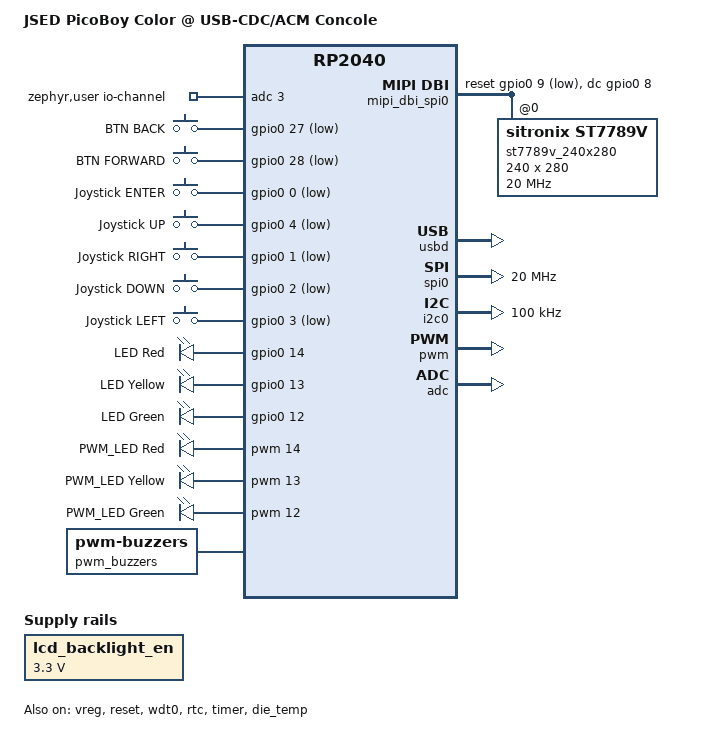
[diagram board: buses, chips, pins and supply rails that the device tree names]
/*
 * SPDX-FileCopyrightText: Copyright (c) 2023-2026 TiaC Systems
 * SPDX-License-Identifier: Apache-2.0
 */

/dts-v1/;

#include <freq.h>
#include <mem.h>

#include <raspberrypi/rpi_pico/rp2040.dtsi>
#include <raspberrypi/partitions_2M_default.dtsi>

#include <zephyr/dt-bindings/clock/rpi_pico_rp2040_clock.h>
#include <zephyr/dt-bindings/regulator/rpi_pico.h>

#include <zephyr/dt-bindings/gpio/gpio.h>
#include <zephyr/dt-bindings/i2c/i2c.h>
#include <zephyr/dt-bindings/pwm/pwm.h>

#include <zephyr/dt-bindings/display/panel.h>
#include <zephyr/dt-bindings/input/input-event-codes.h>
#include <zephyr/dt-bindings/lvgl/lvgl.h>
#include <zephyr/dt-bindings/mipi_dbi/mipi_dbi.h>

#include "picoboy_color-pinctrl.dtsi"

/ {
	model = "JSED PicoBoy Color @ USB-CDC/ACM Concole";
	compatible = "jsed,picoboy-color",
		     "jsed,picoboy-color-usbcons";

	chosen {
		zephyr,sram = &sram0;
		zephyr,flash = &flash0;
		zephyr,flash-controller = &ssi;
		zephyr,code-partition = &code_partition;
		zephyr,console = &cdc_acm_console_uart;
		zephyr,shell-uart = &cdc_acm_console_uart;
		zephyr,display = &lcd_panel;
	};

	aliases {
		watchdog0 = &wdt0;
		sw0 = &button_back;
		sw1 = &button_forward;
		sw2 = &joystick_enter;
		sw3 = &joystick_up;
		sw4 = &joystick_right;
		sw5 = &joystick_down;
		sw6 = &joystick_left;
		led0 = &led0;
		led1 = &led1;
		led2 = &led2;
		pwm-led0 = &pwm_led0;
		pwm-led1 = &pwm_led1;
		pwm-led2 = &pwm_led2;
		pwm-buzzer0 = &pwm_speaker0;
	};

	zephyr,user {
		io-channels = <&adc 3>;
	};

	lvgl_buttons: lvgl-buttons {
		compatible = "zephyr,lvgl-button-input";
		input = <&gpio_keys>;
		input-codes = <INPUT_KEY_FORWARD>;
		coordinates = <120 140>;
	};

	lvgl_keypad: lvgl-keypad {
		compatible = "zephyr,lvgl-keypad-input";
		input = <&gpio_keys>;
		input-codes = <INPUT_KEY_LEFT INPUT_KEY_RIGHT
			       INPUT_KEY_UP INPUT_KEY_DOWN
			       INPUT_KEY_ENTER>;
		lvgl-codes = <LV_KEY_LEFT LV_KEY_RIGHT
			      LV_KEY_UP LV_KEY_DOWN
			      LV_KEY_ENTER>;
	};

	gpio_keys: gpio-keys {
		compatible = "gpio-keys";

		button_back: button-back {
			gpios = <&gpio0 27 (GPIO_PULL_UP | GPIO_ACTIVE_LOW)>;
			zephyr,code = <INPUT_KEY_BACK>;
			label = "BTN BACK";
		};
		button_forward: button-forward {
			gpios = <&gpio0 28 (GPIO_PULL_UP | GPIO_ACTIVE_LOW)>;
			zephyr,code = <INPUT_KEY_FORWARD>;
			label = "BTN FORWARD";
		};
		joystick_enter: joystick-enter {
			gpios = <&gpio0 0 (GPIO_PULL_UP | GPIO_ACTIVE_LOW)>;
			zephyr,code = <INPUT_KEY_ENTER>;
			label = "Joystick ENTER";
		};
		joystick_up: joystick-up {
			gpios = <&gpio0 4 (GPIO_PULL_UP | GPIO_ACTIVE_LOW)>;
			zephyr,code = <INPUT_KEY_UP>;
			label = "Joystick UP";
		};
		joystick_right: joystick-right {
			gpios = <&gpio0 1 (GPIO_PULL_UP | GPIO_ACTIVE_LOW)>;
			zephyr,code = <INPUT_KEY_RIGHT>;
			label = "Joystick RIGHT";
		};
		joystick_down: joystick-down {
			gpios = <&gpio0 2 (GPIO_PULL_UP | GPIO_ACTIVE_LOW)>;
			zephyr,code = <INPUT_KEY_DOWN>;
			label = "Joystick DOWN";
		};
		joystick_left: joystick-left {
			gpios = <&gpio0 3 (GPIO_PULL_UP | GPIO_ACTIVE_LOW)>;
			zephyr,code = <INPUT_KEY_LEFT>;
			label = "Joystick LEFT";
		};
	};

	gpio_leds: gpio-leds {
		compatible = "gpio-leds";

		led0: led0-red {
			gpios = <&gpio0 14 GPIO_ACTIVE_HIGH>;
			label = "LED Red";
		};
		led1: led1-yellow {
			gpios = <&gpio0 13 GPIO_ACTIVE_HIGH>;
			label = "LED Yellow";
		};
		led2: led2-green {
			gpios = <&gpio0 12 GPIO_ACTIVE_HIGH>;
			label = "LED Green";
		};
	};

	pwm_leds: pwm-leds {
		compatible = "pwm-leds";

		pwm_led0: pwm-led0-red {
			pwms = <&pwm 14 PWM_MSEC(20) PWM_POLARITY_NORMAL>;
			label = "PWM_LED Red";
		};
		pwm_led1: pwm-led1-yellow {
			pwms = <&pwm 13 PWM_MSEC(20) PWM_POLARITY_NORMAL>;
			label = "PWM_LED Yellow";
		};
		pwm_led2: pwm-led2-green {
			pwms = <&pwm 12 PWM_MSEC(20) PWM_POLARITY_NORMAL>;
			label = "PWM_LED Green";
		};
	};

	pwm_buzzers: pwm-buzzers {
		compatible = "pwm-buzzers";

		pwm_speaker0: pwm-speaker0 {
			pwms = <&pwm 15 PWM_HZ(880) PWM_POLARITY_NORMAL>;
			label = "PWM_SPEAKER";
		};
	};

	mipi_dbi_spi0: mipi-dbi-spi0 {
		compatible = "zephyr,mipi-dbi-spi";
		#address-cells = <1>;
		#size-cells = <0>;
	};

	lcd_backlight_en: lcd-backlight-en {
		compatible = "regulator-gpio";
		regulator-name = "lcd_backlight";
	};
};

&flash0 {
	status = "okay";
	reg = <0x10000000 DT_SIZE_M(2)>;
	ranges = <0x0 0x10000000 DT_SIZE_M(2)>;
};

&clocks {
	status = "okay";
	pinctrl-0 = <&clocks_default>;
	pinctrl-names = "default";
};

&vreg {
	status = "okay";
	regulator-always-on;
	regulator-allowed-modes = <REGULATOR_RPI_PICO_MODE_NORMAL>;
};

&reset {
	status = "okay";
};

&wdt0 {
	status = "okay";
};

&rtc {
	status = "okay";
	clocks = <&clocks RPI_PICO_CLKID_CLK_RTC>;
};

&timer {
	status = "okay";
};

&dma {
	status = "okay";
};

&die_temp {
	status = "okay";
	friendly-name = "RP2040 chip temperature";
};

zephyr_udc0: &usbd {
	status = "okay";

	cdc_acm_console_uart: cdc_acm_console_uart {
		compatible = "zephyr,cdc-acm-uart";
	};
};

&uart1 {
	status = "disabled";
	pinctrl-0 = <&uart1_default>;
	pinctrl-names = "default";
	current-speed = <115200>;
	data-bits = <8>;
	parity = "none";
	stop-bits = "1";
};

&spi0 {
	status = "okay";
	pinctrl-0 = <&spi0_default>;
	pinctrl-names = "default";
	clock-frequency = <DT_FREQ_M(20)>;

	/* GP10 as CSn to ST7789V LCD panel controller. */
	cs-gpios = <&gpio0 10 GPIO_ACTIVE_LOW>;
};

&mipi_dbi_spi0 {
	status = "okay";

	/* SPI0 as serial bus to ST7789V LCD panel controller. */
	spi-dev = <&spi0>;
	write-only;

	/* GP8/9 as DC/RST to ST7789V LCD panel controller. */
	reset-gpios = <&gpio0 9 GPIO_ACTIVE_LOW>;
	dc-gpios = <&gpio0 8 GPIO_ACTIVE_HIGH>;

	/* LCD with ST7789V controller. */
	st7789v_240x280: st7789v-240x280@0 {
		compatible = "sitronix,st7789v";
		status = "okay";

		reg = <0>;
		mipi-max-frequency = <DT_FREQ_M(20)>;
		mipi-mode = "MIPI_DBI_MODE_SPI_4WIRE";

		width = <240>;		/* portrait */
		height = <280>;		/* portrait */
		x-offset = <0>;		/* portrait */
		y-offset = <20>;	/* portrait */

		vcom = <0x1f>;
		gctrl = <0x35>;
		vrhs = <0x12>;
		vdvs = <0x20>;
	//	mdac = <0x00>;		/* portrait */
	//	mdac = <0x40>;		/* portrait, mirrored */
		mdac = <0xC0>;		/* portrait, overhead */
	//	mdac = <0x80>;		/* portrait, upsidedown */
		pixel-format = <PANEL_PIXEL_FORMAT_RGB_565X>;
		gamma = <0x01>;
		lcm = <0x2C>;
		porch-param = [0C 0C 00 33 33];
		cmd2en-param = [5A 69 02 01];
		pwctrl1-param = [A4 A1];
		pvgam-param = [D0 08 11 08 0C 15 39 33 50 36 13 14 29 2D];
		nvgam-param = [D0 08 10 08 06 06 39 44 51 0B 16 14 2F 31];
		ram-param = [00 F0];
		rgb-param = [CD 08 14];
	};
};

lcd_panel: &st7789v_240x280 {};

&lcd_backlight_en {
	status = "okay";
	regulator-always-on;
	regulator-min-microvolt = <0>;
	regulator-max-microvolt = <3300000>;
	regulator-init-microvolt = <3300000>;

	/* GP26 as backlight switch to LCD panel. */
	gpios = <&gpio0 26 GPIO_ACTIVE_HIGH>;
	states = <3300000 1>, <0 0>;
};

&i2c0 {
	status = "okay";
	pinctrl-0 = <&i2c0_default>;
	pinctrl-names = "default";
	clock-frequency = <I2C_BITRATE_STANDARD>;
};

zephyr_i2c: &i2c0 {};

&pwm {
	status = "okay";
	pinctrl-0 = <&pwm_default>;
	pinctrl-names = "default";
	divider-frac-6 = <15>;	/* led:    PWM6CHA (12) */
	divider-int-6 = <255>;	/* led:    PWM6CHB (13) */
	divider-frac-7 = <15>;	/* led:    PWM7CHA (14) */
	divider-int-7 = <255>;	/* buzzer: PWM7CHB (15) */
};

&adc {
	status = "okay";
	pinctrl-0 = <&adc_default>;
	pinctrl-names = "default";
};

&gpio0 {
	status = "okay";
	/* namespace and positions without wired bits */
	gpio-reserved-ranges = <5 3>, <11 1>, <22 4>, <29 1>;
	gpio-line-names =
		"JOY_ENTER",		/* GP0 */
		"JOY_RIGHT",		/* GP1 */
		"JOY_DOWN",		/* GP2 */
		"JOY_LEFT",		/* GP3 */
		"JOY_UP",		/* GP4 */
		"",			/* GP5 */
		"",			/* GP6 */
		"",			/* GP7 */
		"LCD_DC",		/* GP8 */
		"LCD_RST",		/* GP9 */
		"LCD_CSN_SW",		/* GP10 */
		"",			/* GP11 */
		"LED_GREEN",		/* GP12 */
		"LED_YELLOW",		/* GP13 */
		"LED_RED",		/* GP14 */
		"SPEAKER",		/* GP15 */
		"LCD_SDI0",		/* GP16 */
		"LCD_CSN0_HW",		/* GP17 */
		"LCD_SCK0",		/* GP18 */
		"LCD_SDO0",		/* GP19 */
		"SENS_SDA0_TX1",	/* GP20 */
		"SENS_SCL0_RX1",	/* GP21 */
		"",			/* GP22 */
		"",			/* GP23 */
		"",			/* GP24 */
		"",			/* GP25 */
		"LCD_BL",		/* GP26 */
		"BTN_BACK",		/* GP27 */
		"BTN_FORWARD",		/* GP28 */
		"";			/* GP29 */
};
